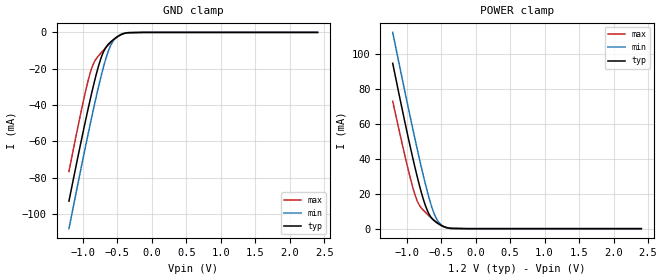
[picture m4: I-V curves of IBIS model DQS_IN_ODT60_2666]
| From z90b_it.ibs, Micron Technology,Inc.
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| MODEL DQS_IN_ODT60_2666 (Data Strobe Input with 60ohm ODT, 1600-2666Mbps)
[Model]   DQS_IN_ODT60_2666
Model_type   Input
Vinl = 860.000mV
Vinh = 1060.000mV
|   typ   min   max
|C_comp   1.006pF   0.945pF   1.074pF
C_comp_power_clamp   0.5030pF   0.4725pF   0.5370pF
C_comp_gnd_clamp   0.5030pF   0.4725pF   0.5370pF
| Note: C_comp changes when the ODT circuit is enabled.
|[Model Spec]
| Dynamic Overshoot Parameters from DDR4 Specification
|D_overshoot_ampl_h   0.40   NA   NA
|D_overshoot_ampl_l   0.40   NA   NA
|D_overshoot_area_h   0.0720n   NA   NA
|D_overshoot_area_l   0.0720n   NA   NA
[Voltage Range]   1.2000V   1.1400V   1.2600V
| Junction Temperature (Ambient temp is 35C typ, 95C min, -40C max)
[Temperature Range]   50.0   110.0   -40.0
[Add Submodel]
| Submodel Name   Mode
60ohm_ODT_2666   Non-Driving
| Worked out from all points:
|   GND clamp passes 1 mA (typ) near -0.43 V on its own axis
|   POWER clamp passes 1 mA (typ) near -0.45 V on its own axis
[GND Clamp]
|   Voltage   I(typ)   I(min)   I(max)
-1.2V     -92.91mA   -108.1mA   -76.61mA
-983.3mV  -52.76mA   -67.11mA   -36.43mA
-917.8mV  -41.3mA    -55.15mA   -25.83mA
-858.5mV  -31.43mA   -44.62mA   -18.42mA
-774.1mV  -18.86mA   -30.35mA   -13.01mA
-701.8mV  -10.87mA   -19.32mA   -9.896mA
-615.4mV  -5.94mA    -8.905mA   -6.468mA
-550.2mV  -3.774mA   -4.182mA   -4.134mA
-509.2mV  -2.641mA   -2.521mA   -2.832mA
-408.8mV  -690.8uA   -569.2uA   -616.1uA
-343.2mV  -177.6uA   -154.7uA   -124.8uA
2.402V    0A         0A         0A
[POWER Clamp]
|   Voltage   I(typ)   I(min)   I(max)
-1.2V     94.4mA     112.1mA    72.78mA
-975.7mV  52.11mA    69.28mA    33.75mA
-906.4mV  39.89mA    56.5mA     23.19mA
-844.7mV  29.66mA    45.4mA     15.81mA
-761.5mV  17.48mA    31.13mA    10.75mA
-691mV    9.697mA    20.07mA    7.948mA
-654mV    7.028mA    14.92mA    6.577mA
-604.9mV  4.792mA    9.112mA    4.862mA
-551.1mV  3.155mA    4.617mA    3.164mA
-502.3mV  1.991mA    2.314mA    1.863mA
-351.6mV  162.7uA    174.3uA    74.75uA
2.402V    0A         0A         0A
